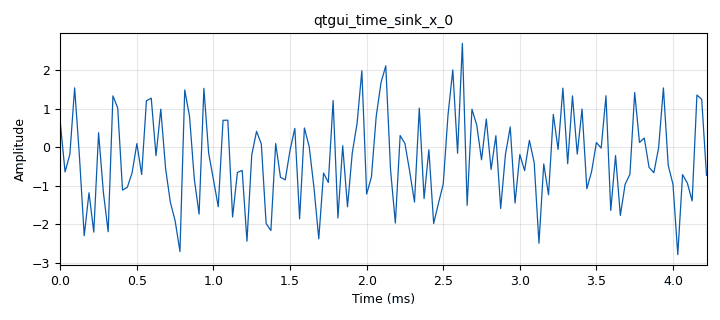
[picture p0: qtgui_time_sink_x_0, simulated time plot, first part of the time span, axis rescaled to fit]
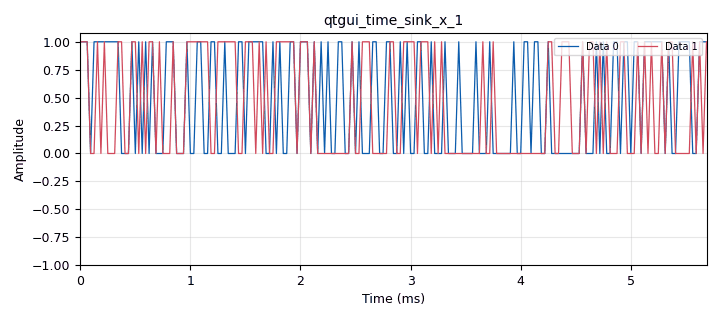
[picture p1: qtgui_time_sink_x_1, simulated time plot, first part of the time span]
<?xml version='1.0' encoding='utf-8'?>
<?grc format='1' created='3.7.10'?>
<flow_graph>
<block>
<key>options</key>
<param><key>id</key><value>top_block</value></param>
<param><key>author</key><value>Alexandros-Apostolos A. Boulogeorgos</value></param>
<param><key>generate_options</key><value>qt_gui</value></param>
<param><key>title</key><value>Bipolar NRZ over AWGN with convolution FEC code and Viterbi decoder</value></param>
</block>
<block>
<key>variable_cc_decoder_def</key>
<param><key>id</key><value>decoder</value></param>
<param><key>padding</key><value>False</value></param>
<param><key>k</key><value>7</value></param>
<param><key>state_end</key><value>-1</value></param>
<param><key>framebits</key><value>2048</value></param>
<param><key>ndim</key><value>0</value></param>
<param><key>polys</key><value>[79,109]</value></param>
<param><key>rate</key><value>2</value></param>
<param><key>state_start</key><value>0</value></param>
<param><key>mode</key><value>fec.CC_STREAMING</value></param>
</block>
<block>
<key>variable</key>
<param><key>id</key><value>degree</value></param>
<param><key>value</key><value>20</value></param>
</block>
<block>
<key>variable_cc_encoder_def</key>
<param><key>id</key><value>encoder</value></param>
<param><key>padding</key><value>False</value></param>
<param><key>k</key><value>7</value></param>
<param><key>framebits</key><value>2048</value></param>
<param><key>ndim</key><value>0</value></param>
<param><key>polys</key><value>[79,109]</value></param>
<param><key>rate</key><value>2</value></param>
<param><key>state_start</key><value>0</value></param>
<param><key>mode</key><value>fec.CC_STREAMING</value></param>
</block>
<block>
<key>variable</key>
<param><key>id</key><value>mask</value></param>
<param><key>value</key><value>0</value></param>
</block>
<block>
<key>variable</key>
<param><key>id</key><value>noise_voltage</value></param>
<param><key>value</key><value>1</value></param>
</block>
<block>
<key>variable</key>
<param><key>id</key><value>samp_rate</value></param>
<param><key>value</key><value>32000</value></param>
</block>
<block>
<key>variable</key>
<param><key>id</key><value>seed</value></param>
<param><key>value</key><value>1</value></param>
</block>
<block>
<key>analog_noise_source_x</key>
<param><key>id</key><value>analog_noise_source_x_0</value></param>
<param><key>amp</key><value>noise_voltage</value></param>
<param><key>noise_type</key><value>analog.GR_GAUSSIAN</value></param>
<param><key>type</key><value>float</value></param>
<param><key>seed</key><value>0</value></param>
</block>
<block>
<key>blocks_add_const_vxx</key>
<param><key>id</key><value>blocks_add_const_vxx_0</value></param>
<param><key>const</key><value>-1</value></param>
<param><key>type</key><value>float</value></param>
</block>
<block>
<key>blocks_add_xx</key>
<param><key>id</key><value>blocks_add_xx_0</value></param>
<param><key>type</key><value>float</value></param>
</block>
<block>
<key>blocks_char_to_float</key>
<param><key>id</key><value>blocks_char_to_float_0</value></param>
<param><key>scale</key><value>1</value></param>
</block>
<block>
<key>blocks_char_to_float</key>
<param><key>id</key><value>blocks_char_to_float_0_0_0</value></param>
<param><key>scale</key><value>1</value></param>
</block>
<block>
<key>blocks_char_to_float</key>
<param><key>id</key><value>blocks_char_to_float_1</value></param>
<param><key>scale</key><value>1</value></param>
</block>
<block>
<key>blocks_pack_k_bits_bb</key>
<param><key>id</key><value>blocks_pack_k_bits_bb_0</value></param>
<param><key>k</key><value>8</value></param>
</block>
<block>
<key>blocks_pack_k_bits_bb</key>
<param><key>id</key><value>blocks_pack_k_bits_bb_0_0</value></param>
<param><key>k</key><value>8</value></param>
</block>
<block>
<key>fec_ber_bf</key>
<param><key>id</key><value>fec_ber_bf_0</value></param>
<param><key>berlimit</key><value>-10</value></param>
<param><key>test_mode</key><value>False</value></param>
</block>
<block>
<key>fec_extended_decoder</key>
<param><key>id</key><value>fec_extended_decoder_0</value></param>
<param><key>decoder_list</key><value>decoder</value></param>
<param><key>puncpat</key><value>'11'</value></param>
<param><key>threadtype</key><value>capillary</value></param>
</block>
<block>
<key>fec_extended_encoder</key>
<param><key>id</key><value>fec_extended_encoder_0</value></param>
<param><key>encoder_list</key><value>encoder</value></param>
<param><key>puncpat</key><value>'11'</value></param>
<param><key>threadtype</key><value>capillary</value></param>
</block>
<block>
<key>digital_glfsr_source_x</key>
<param><key>id</key><value>glfsr_source_0</value></param>
<param><key>degree</key><value>degree</value></param>
<param><key>mask</key><value>mask</value></param>
<param><key>repeat</key><value>True</value></param>
<param><key>seed</key><value>seed</value></param>
<param><key>type</key><value>byte</value></param>
</block>
<block>
<key>note</key>
<param><key>id</key><value>note_0</value></param>
<param><key>note</key><value>log(BER)</value></param>
</block>
<block>
<key>note</key>
<param><key>id</key><value>note_0_0</value></param>
<param><key>note</key><value>SNR(dB)=-20 log(noise_voltage)</value></param>
</block>
<block>
<key>qtgui_number_sink</key>
<param><key>id</key><value>qtgui_number_sink_0</value></param>
<param><key>autoscale</key><value>True</value></param>
<param><key>graph_type</key><value>qtgui.NUM_GRAPH_HORIZ</value></param>
<param><key>type</key><value>float</value></param>
<param><key>min</key><value>0</value></param>
</block>
<block>
<key>qtgui_time_sink_x</key>
<param><key>id</key><value>qtgui_time_sink_x_0</value></param>
<param><key>color1</key><value>"blue"</value></param>
<param><key>label1</key><value></value></param>
<param><key>size</key><value>1024</value></param>
<param><key>srate</key><value>samp_rate</value></param>
<param><key>type</key><value>float</value></param>
</block>
<block>
<key>qtgui_time_sink_x</key>
<param><key>id</key><value>qtgui_time_sink_x_1</value></param>
<param><key>color1</key><value>"blue"</value></param>
<param><key>label1</key><value></value></param>
<param><key>color2</key><value>"red"</value></param>
<param><key>label2</key><value></value></param>
<param><key>nconnections</key><value>2</value></param>
<param><key>size</key><value>1024</value></param>
<param><key>srate</key><value>samp_rate</value></param>
<param><key>type</key><value>float</value></param>
</block>
<connection><source_block_id>analog_noise_source_x_0</source_block_id><sink_block_id>blocks_add_xx_0</sink_block_id><source_key>0</source_key><sink_key>1</sink_key></connection>
<connection><source_block_id>blocks_add_const_vxx_0</source_block_id><sink_block_id>blocks_add_xx_0</sink_block_id><source_key>0</source_key><sink_key>0</sink_key></connection>
<connection><source_block_id>blocks_add_xx_0</source_block_id><sink_block_id>fec_extended_decoder_0</sink_block_id><source_key>0</source_key><sink_key>0</sink_key></connection>
<connection><source_block_id>blocks_add_xx_0</source_block_id><sink_block_id>qtgui_time_sink_x_0</sink_block_id><source_key>0</source_key><sink_key>0</sink_key></connection>
<connection><source_block_id>blocks_char_to_float_0</source_block_id><sink_block_id>qtgui_time_sink_x_1</sink_block_id><source_key>0</source_key><sink_key>0</sink_key></connection>
<connection><source_block_id>blocks_char_to_float_0_0_0</source_block_id><sink_block_id>qtgui_time_sink_x_1</sink_block_id><source_key>0</source_key><sink_key>1</sink_key></connection>
<connection><source_block_id>blocks_char_to_float_1</source_block_id><sink_block_id>blocks_add_const_vxx_0</sink_block_id><source_key>0</source_key><sink_key>0</sink_key></connection>
<connection><source_block_id>blocks_pack_k_bits_bb_0</source_block_id><sink_block_id>fec_ber_bf_0</sink_block_id><source_key>0</source_key><sink_key>1</sink_key></connection>
<connection><source_block_id>blocks_pack_k_bits_bb_0_0</source_block_id><sink_block_id>fec_ber_bf_0</sink_block_id><source_key>0</source_key><sink_key>0</sink_key></connection>
<connection><source_block_id>fec_ber_bf_0</source_block_id><sink_block_id>qtgui_number_sink_0</sink_block_id><source_key>0</source_key><sink_key>0</sink_key></connection>
<connection><source_block_id>fec_extended_decoder_0</source_block_id><sink_block_id>blocks_char_to_float_0_0_0</sink_block_id><source_key>0</source_key><sink_key>0</sink_key></connection>
<connection><source_block_id>fec_extended_decoder_0</source_block_id><sink_block_id>blocks_pack_k_bits_bb_0_0</sink_block_id><source_key>0</source_key><sink_key>0</sink_key></connection>
<connection><source_block_id>fec_extended_encoder_0</source_block_id><sink_block_id>blocks_char_to_float_1</sink_block_id><source_key>0</source_key><sink_key>0</sink_key></connection>
<connection><source_block_id>glfsr_source_0</source_block_id><sink_block_id>blocks_char_to_float_0</sink_block_id><source_key>0</source_key><sink_key>0</sink_key></connection>
<connection><source_block_id>glfsr_source_0</source_block_id><sink_block_id>blocks_pack_k_bits_bb_0</sink_block_id><source_key>0</source_key><sink_key>0</sink_key></connection>
<connection><source_block_id>glfsr_source_0</source_block_id><sink_block_id>fec_extended_encoder_0</sink_block_id><source_key>0</source_key><sink_key>0</sink_key></connection>
</flow_graph>
